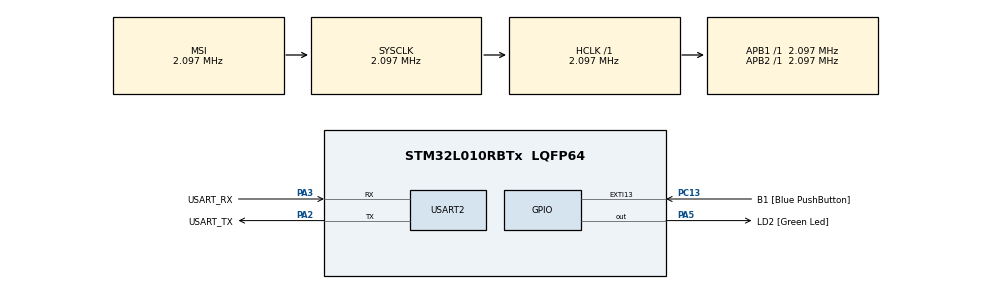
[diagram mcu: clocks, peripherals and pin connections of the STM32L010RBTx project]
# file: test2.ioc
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Mcu.Family=STM32L0
Mcu.Name=STM32L010RBTx
Mcu.Package=LQFP64
PA13.GPIO_Label=TMS
PA13.Mode=Serial_Wire
PA13.Signal=SYS_SWDIO
PA14.GPIO_Label=TCK
PA14.Mode=Serial_Wire
PA14.Signal=SYS_SWCLK
PA2.GPIO_Label=USART_TX
PA2.Mode=Asynchronous
PA2.Signal=USART2_TX
PA3.GPIO_Label=USART_RX
PA3.Mode=Asynchronous
PA3.Signal=USART2_RX
PA5.GPIO_Label=LD2 [Green Led]
PA5.Signal=GPIO_Output
PC13.GPIO_Label=B1 [Blue PushButton]
PC13.GPIO_ModeDefaultEXTI=GPIO_MODE_IT_FALLING
PC13.Signal=GPXTI13
PC14-OSC32_IN.Mode=LSE-External-Oscillator
PC14-OSC32_IN.Signal=RCC_OSC32_IN
PC15-OSC32_OUT.Mode=LSE-External-Oscillator
PC15-OSC32_OUT.Signal=RCC_OSC32_OUT
PH0-OSC_IN.GPIO_Label=MCO
PH0-OSC_IN.Mode=HSE-External-Clock-Source
PH0-OSC_IN.Signal=RCC_OSC_IN
ProjectManager.HeapSize=0x200
ProjectManager.StackSize=0x400
ProjectManager.TargetToolchain=STM32CubeIDE
RCC.AHBFreq_Value=2097000
RCC.APB1Freq_Value=2097000
RCC.APB1TimFreq_Value=2097000
RCC.APB2Freq_Value=2097000
RCC.APB2TimFreq_Value=2097000
RCC.HSE_VALUE=8000000
RCC.HSI16_VALUE=16000000
RCC.HSI48_VALUE=48000000
RCC.HSI_VALUE=16000000
RCC.MSI_VALUE=2097000
RCC.SYSCLKFreq_VALUE=2097000
RCC.VCOOutputFreq_Value=48000000
USART2.VirtualMode-Asynchronous=VM_ASYNC
board=NUCLEO-L010RB

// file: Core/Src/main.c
/* USER CODE BEGIN Header */
/**
  ******************************************************************************
  * @file           : main.c
  * @brief          : Main program body
  ******************************************************************************
  * @attention
  *
  * Copyright (c) 2025 STMicroelectronics.
  * All rights reserved.
  *
  * This software is licensed under terms that can be found in the LICENSE file
  * in the root directory of this software component.
  * If no LICENSE file comes with this software, it is provided AS-IS.
  *
  ******************************************************************************
  */
/* USER CODE END Header */
#include "main.h"
#include <string.h>

UART_HandleTypeDef huart2;

void SystemClock_Config(void);
static void MX_GPIO_Init(void);
static void MX_USART2_UART_Init(void);
/* USER CODE BEGIN PFP */
void UART_Flush(UART_HandleTypeDef *huart);
/* USER CODE END PFP */

int main(void)
{

  /* USER CODE BEGIN 1 */
  char msg[] = "Hello World !\r\n";
  // char msg[] = "Z\r\n";
  /* USER CODE END 1 */

  /* MCU Configuration--------------------------------------------------------*/

  /* Reset of all peripherals, Initializes the Flash interface and the Systick. */
  HAL_Init();

  /* Configure the system clock */
  SystemClock_Config();

  /* Initialize all configured peripherals */
  MX_GPIO_Init();
  MX_USART2_UART_Init();
  // UART_Flush(&huart2);
  /* USER CODE BEGIN 2 */
  HAL_Delay(5000);
  HAL_UART_Transmit(&huart2, (uint8_t*)msg, strlen(msg), HAL_MAX_DELAY);
  /* USER CODE END 2 */

  /* Infinite loop */
  while (1)
  {

    /* USER CODE BEGIN 3 */
    HAL_GPIO_WritePin(LD2_GPIO_Port, LD2_Pin, GPIO_PIN_SET);
    HAL_Delay(200);
    HAL_GPIO_WritePin(LD2_GPIO_Port, LD2_Pin, GPIO_PIN_RESET);
    HAL_Delay(200);

    // Répétition de l’envoi toutes les secondes
    // HAL_UART_Transmit(&huart2, (uint8_t*)msg, strlen(msg), HAL_MAX_DELAY);
    // HAL_Delay(1000);
  }
  /* USER CODE END 3 */
}

void SystemClock_Config(void)
{
  RCC_OscInitTypeDef RCC_OscInitStruct = {0};
  RCC_ClkInitTypeDef RCC_ClkInitStruct = {0};
  RCC_PeriphCLKInitTypeDef PeriphClkInit = {0};

  /** Configure the main internal regulator output voltage
  */
  __HAL_PWR_VOLTAGESCALING_CONFIG(PWR_REGULATOR_VOLTAGE_SCALE1);

  /** Initializes the RCC Oscillators according to the specified parameters
  * in the RCC_OscInitTypeDef structure.
  */
  RCC_OscInitStruct.OscillatorType = RCC_OSCILLATORTYPE_MSI;
  RCC_OscInitStruct.MSIState = RCC_MSI_ON;
  RCC_OscInitStruct.MSICalibrationValue = 0;
  RCC_OscInitStruct.MSIClockRange = RCC_MSIRANGE_5;
  RCC_OscInitStruct.PLL.PLLState = RCC_PLL_NONE;
  if (HAL_RCC_OscConfig(&RCC_OscInitStruct) != HAL_OK)
  {
    Error_Handler();
  }

  /** Initializes the CPU, AHB and APB buses clocks
  */
  RCC_ClkInitStruct.ClockType = RCC_CLOCKTYPE_HCLK|RCC_CLOCKTYPE_SYSCLK
                              |RCC_CLOCKTYPE_PCLK1|RCC_CLOCKTYPE_PCLK2;
  RCC_ClkInitStruct.SYSCLKSource = RCC_SYSCLKSOURCE_MSI;
  RCC_ClkInitStruct.AHBCLKDivider = RCC_SYSCLK_DIV1;
  RCC_ClkInitStruct.APB1CLKDivider = RCC_HCLK_DIV1;
  RCC_ClkInitStruct.APB2CLKDivider = RCC_HCLK_DIV1;

  if (HAL_RCC_ClockConfig(&RCC_ClkInitStruct, FLASH_LATENCY_0) != HAL_OK)
  {
    Error_Handler();
  }
  PeriphClkInit.PeriphClockSelection = RCC_PERIPHCLK_USART2;
  PeriphClkInit.Usart2ClockSelection = RCC_USART2CLKSOURCE_PCLK1;
  if (HAL_RCCEx_PeriphCLKConfig(&PeriphClkInit) != HAL_OK)
  {
    Error_Handler();
  }
}

static void MX_USART2_UART_Init(void)
{

  huart2.Instance = USART2;
  huart2.Init.BaudRate = 115200;
  huart2.Init.WordLength = UART_WORDLENGTH_8B;
  huart2.Init.StopBits = UART_STOPBITS_1;
  huart2.Init.Parity = UART_PARITY_NONE;
  huart2.Init.Mode = UART_MODE_TX_RX;
  huart2.Init.HwFlowCtl = UART_HWCONTROL_NONE;
  huart2.Init.OverSampling = UART_OVERSAMPLING_16;
  huart2.Init.OneBitSampling = UART_ONE_BIT_SAMPLE_DISABLE;
  huart2.AdvancedInit.AdvFeatureInit = UART_ADVFEATURE_NO_INIT;
  if (HAL_UART_Init(&huart2) != HAL_OK)
  {
    Error_Handler();
  }

}

static void MX_GPIO_Init(void)
{
  GPIO_InitTypeDef GPIO_InitStruct = {0};

  /* GPIO Ports Clock Enable */
  __HAL_RCC_GPIOC_CLK_ENABLE();
  __HAL_RCC_GPIOH_CLK_ENABLE();
  __HAL_RCC_GPIOA_CLK_ENABLE();

  /*Configure GPIO pin Output Level */
  HAL_GPIO_WritePin(LD2_GPIO_Port, LD2_Pin, GPIO_PIN_RESET);

  /*Configure GPIO pin : B1_Pin */
  GPIO_InitStruct.Pin = B1_Pin;
  GPIO_InitStruct.Mode = GPIO_MODE_IT_FALLING;
  GPIO_InitStruct.Pull = GPIO_NOPULL;
  HAL_GPIO_Init(B1_GPIO_Port, &GPIO_InitStruct);

  /*Configure GPIO pin : LD2_Pin */
  GPIO_InitStruct.Pin = LD2_Pin;
  GPIO_InitStruct.Mode = GPIO_MODE_OUTPUT_PP;
  GPIO_InitStruct.Pull = GPIO_NOPULL;
  GPIO_InitStruct.Speed = GPIO_SPEED_FREQ_LOW;
  HAL_GPIO_Init(LD2_GPIO_Port, &GPIO_InitStruct);

}

/* USER CODE BEGIN 4 */
void UART_Flush(UART_HandleTypeDef *huart)
{
    // Vider le registre RX tant qu’il reste des données
    __HAL_UART_FLUSH_DRREGISTER(huart);

    // Effacer les flags d’erreur éventuels (Overrun, Framing, Noise, Parity)
    __HAL_UART_CLEAR_OREFLAG(huart);
    __HAL_UART_CLEAR_FEFLAG(huart);
    __HAL_UART_CLEAR_NEFLAG(huart);
    __HAL_UART_CLEAR_PEFLAG(huart);

    // Attendre que la transmission en cours (TX) soit terminée
    while(__HAL_UART_GET_FLAG(huart, UART_FLAG_TC) == RESET);

}
/* USER CODE END 4 */

void Error_Handler(void)
{
  __disable_irq();
  while (1)
  {
  }
}
